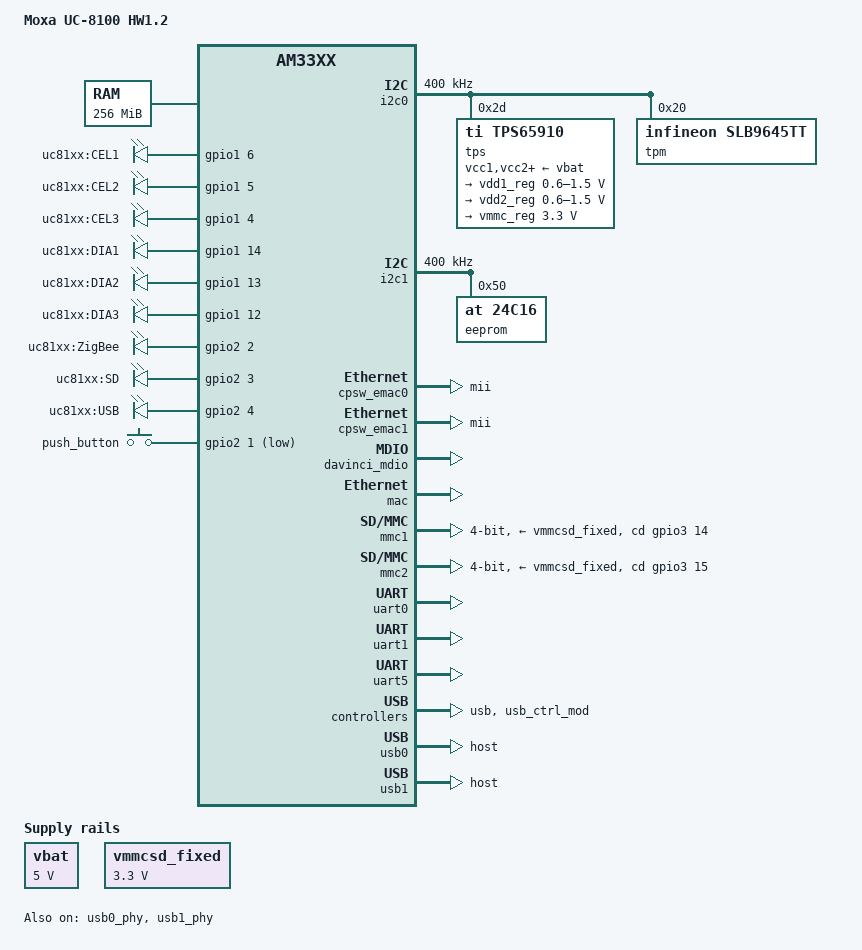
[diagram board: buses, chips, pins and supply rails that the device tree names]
// SPDX-License-Identifier: GPL-2.0
/*
 * Copyright (C) 2015 MOXA Inc. - https://www.moxa.com/
 *
 * Authors: SZ Lin (林上智) <sz.lin@moxa.com>
 *          Wes Huang (黃淵河) <wes.huang@moxa.com>
 *          Ken CJ Chou <KenCJ.Chou@moxa.com>
 */

/dts-v1/;

#include <dt-bindings/input/input.h>
#include "am33xx.dtsi"

/ {
	model = "Moxa UC-8100 HW1.2";
	compatible = "ti,moxa-uc8100", "ti,am33xx";

	aliases {
		serial0 = &uart0;
		serial1 = &uart1;
		serial2 = &uart5;
	};

	cpus {
		cpu@0 {
			cpu0-supply = <&vdd1_reg>;
		};
	};

	cpu0_opp_table: opp_table0 {
		opp50@300000000 {
			status = "okay";
		};

		opp100@275000000 {
			status = "disabled";
		};

		opp100@300000000 {
			status = "disabled";
		};

		opp100@500000000 {
			status = "disabled";
		};

		opp100@600000000 {
			status = "okay";
		};

		opp120@600000000 {
			status = "disabled";
		};

		opp120@720000000 {
			status = "okay";
		};

		oppturbo@720000000 {
			status = "disabled";
		};

		oppturbo@800000000 {
			status = "disabled";
		};

		oppnitro@1000000000 {
			status = "okay";
		};
	};

	memory {
		device_type = "memory";
		reg = <0x80000000 0x10000000>; /* 256 MB */
	};

	vbat: fixedregulator@0 {
		compatible = "regulator-fixed";
	};

	/* Power supply provides a fixed 3.3V @3A */
	vmmcsd_fixed: fixedregulator@1 {
		compatible = "regulator-fixed";
		regulator-name = "vmmcsd_fixed";
		regulator-min-microvolt = <3300000>;
		regulator-max-microvolt = <3300000>;
		regulator-boot-on;
	};

	leds: user_leds {
		compatible = "gpio-leds";
	};

	buttons: user_buttons {
		compatible = "gpio-keys";
	};
};

/* I2C Busses */
&i2c0 {
	pinctrl-names = "default";
	pinctrl-0 = <&i2c0_pins>;

	status = "okay";
	clock-frequency = <400000>;

	tps: tps@2d {
		compatible = "ti,tps65910";
		reg = <0x2d>;
	};

	tpm: tpm@20 {
		compatible = "infineon,slb9645tt";
		reg = <0x20>;
	};
};

&i2c1 {
	pinctrl-names = "default";
	pinctrl-0 = <&i2c1_pins>;

	status = "okay";
	clock-frequency = <400000>;

	eeprom: eeprom@50 {
		compatible = "at,24c16";
		pagesize = <16>;
		reg = <0x50>;
	};
};

&am33xx_pinmux {
	i2c0_pins: pinmux_i2c0_pins {
		pinctrl-single,pins = <
			AM33XX_IOPAD(0x988 ,PIN_INPUT_PULLUP | MUX_MODE0) /* i2c0_sda */
			AM33XX_IOPAD(0x98c ,PIN_INPUT_PULLUP | MUX_MODE0) /* i2c0_scl */
		>;
	};

	i2c1_pins: pinmux_i2c1_pins {
		pinctrl-single,pins = <
			AM33XX_IOPAD(0x958 ,PIN_INPUT_PULLUP | MUX_MODE2) /* spi0_d1.i2c1_sda */
			AM33XX_IOPAD(0x95c ,PIN_INPUT_PULLUP | MUX_MODE2) /* spi0_cs0.i2c1_scl */
		>;
	};
};

/* Ethernet */
&cpsw_emac0 {
	status = "okay";
	phy_id = <&davinci_mdio>, <16>;
	phy-mode = "mii";
	dual_emac_res_vlan = <1>;
};

&cpsw_emac1 {
	status = "okay";
	phy_id = <&davinci_mdio>, <2>;
	phy-mode = "mii";
	dual_emac_res_vlan = <2>;
};

&davinci_mdio {
	pinctrl-names = "default";
	pinctrl-0 = <&davinci_mdio_default>;
	status = "okay";
};

&mac {
	pinctrl-names = "default";
	pinctrl-0 = <&cpsw_default>;
	dual_emac = <1>;
	status = "okay";
};

&am33xx_pinmux {
	cpsw_default: cpsw_default {
		pinctrl-single,pins = <
			/* Slave 1 */
			AM33XX_IOPAD(0x910 ,PIN_INPUT_PULLUP | MUX_MODE0)    /* mii1_rxerr */
			AM33XX_IOPAD(0x914 ,PIN_OUTPUT_PULLDOWN | MUX_MODE0) /* mii1_txen */
			AM33XX_IOPAD(0x918 ,PIN_INPUT_PULLUP | MUX_MODE0)    /* mii1_rxdv */
			AM33XX_IOPAD(0x91c ,PIN_OUTPUT_PULLDOWN | MUX_MODE0) /* mii1_txd3 */
			AM33XX_IOPAD(0x920 ,PIN_OUTPUT_PULLDOWN | MUX_MODE0) /* mii1_txd2 */
			AM33XX_IOPAD(0x924 ,PIN_OUTPUT_PULLDOWN | MUX_MODE0) /* mii1_txd1 */
			AM33XX_IOPAD(0x928 ,PIN_OUTPUT_PULLDOWN | MUX_MODE0) /* mii1_txd0 */
			AM33XX_IOPAD(0x92c ,PIN_INPUT_PULLUP | MUX_MODE0)    /* mii1_txclk */
			AM33XX_IOPAD(0x930 ,PIN_INPUT_PULLUP | MUX_MODE0)    /* mii1_rxclk */
			AM33XX_IOPAD(0x934 ,PIN_INPUT_PULLUP | MUX_MODE0)    /* mii1_rxd3 */
			AM33XX_IOPAD(0x938 ,PIN_INPUT_PULLUP | MUX_MODE0)    /* mii1_rxd2 */
			AM33XX_IOPAD(0x93c ,PIN_INPUT_PULLUP | MUX_MODE0)    /* mii1_rxd1 */
			AM33XX_IOPAD(0x940 ,PIN_INPUT_PULLUP | MUX_MODE0)    /* mii1_rxd0 */

			/* Slave 2 */
			AM33XX_IOPAD(0x83c ,PIN_INPUT_PULLUP | MUX_MODE1)    /* gpmc_wpn.mii2_rxerr */
			AM33XX_IOPAD(0x840 ,PIN_OUTPUT_PULLDOWN | MUX_MODE1) /* gpmc_a0.mii2_txen */
			AM33XX_IOPAD(0x844 ,PIN_INPUT_PULLUP | MUX_MODE1)    /* gpmc_a1.mii2_rxdv */
			AM33XX_IOPAD(0x848 ,PIN_OUTPUT_PULLDOWN | MUX_MODE1) /* gpmc_a2.mii2_txd3 */
			AM33XX_IOPAD(0x84c ,PIN_OUTPUT_PULLDOWN | MUX_MODE1) /* gpmc_a3.mii2_txd2 */
			AM33XX_IOPAD(0x850 ,PIN_OUTPUT_PULLDOWN | MUX_MODE1) /* gpmc_a4.mii2_txd1 */
			AM33XX_IOPAD(0x854 ,PIN_OUTPUT_PULLDOWN | MUX_MODE1) /* gpmc_a5.mii2_txd0 */
			AM33XX_IOPAD(0x858 ,PIN_INPUT_PULLUP | MUX_MODE1)    /* gpmc_a6.mii2_txclk */
			AM33XX_IOPAD(0x85c ,PIN_INPUT_PULLUP | MUX_MODE1)    /* gpmc_a7.mii2_rxclk */
			AM33XX_IOPAD(0x860 ,PIN_INPUT_PULLUP | MUX_MODE1)    /* gpmc_a8.mii2_rxd3 */
			AM33XX_IOPAD(0x864 ,PIN_INPUT_PULLUP | MUX_MODE1)    /* gpmc_a9.mii2_rxd2 */
			AM33XX_IOPAD(0x868 ,PIN_INPUT_PULLUP | MUX_MODE1)    /* gpmc_a10.mii2_rxd1 */
			AM33XX_IOPAD(0x86c ,PIN_INPUT_PULLUP | MUX_MODE1)    /* gpmc_a11.mii2_rxd0 */
		>;
	};

	davinci_mdio_default: davinci_mdio_default {
		pinctrl-single,pins = <
			/* MDIO */
			AM33XX_IOPAD(0x948 ,PIN_INPUT_PULLUP | SLEWCTRL_FAST | MUX_MODE0) /* mdio_data.mdio_data */
			AM33XX_IOPAD(0x94c ,PIN_OUTPUT_PULLUP | MUX_MODE0)                /* mdio_clk.mdio_clk */
		>;
	};
};

/* MMC */
&mmc1 {
	pinctrl-names = "default";
	vmmc-supply = <&vmmcsd_fixed>;
	bus-width = <4>;
	pinctrl-0 = <&mmc0_pins_default>;
	cd-gpios = <&gpio3 14 GPIO_ACTIVE_HIGH>;
	status = "okay";
};

&mmc2 {
	pinctrl-names = "default";
	vmmc-supply = <&vmmcsd_fixed>;
	bus-width = <4>;
	pinctrl-0 = <&mmc1_pins_default>;
	cd-gpios = <&gpio3 15 GPIO_ACTIVE_HIGH>;
	status = "okay";
};

&am33xx_pinmux {
	mmc0_pins_default: pinmux_mmc0_pins {
		pinctrl-single,pins = <
			AM33XX_IOPAD(0x8f0 ,PIN_INPUT_PULLUP | MUX_MODE0) /* mmc0_dat3 */
			AM33XX_IOPAD(0x8f4 ,PIN_INPUT_PULLUP | MUX_MODE0) /* mmc0_dat2 */
			AM33XX_IOPAD(0x8f8 ,PIN_INPUT_PULLUP | MUX_MODE0) /* mmc0_dat1 */
			AM33XX_IOPAD(0x8fc ,PIN_INPUT_PULLUP | MUX_MODE0) /* mmc0_dat0 */
			AM33XX_IOPAD(0x900 ,PIN_INPUT_PULLUP | MUX_MODE0) /* mmc0_clk */
			AM33XX_IOPAD(0x904 ,PIN_INPUT_PULLUP | MUX_MODE0) /* mmc0_cmd */
			AM33XX_IOPAD(0x990 ,PIN_INPUT_PULLUP | MUX_MODE7) /* mcasp0_aclkx.gpio3_14 */
			/*AM33XX_IOPAD(0x9a0 ,PIN_INPUT_PULLUP | MUX_MODE7) /* mcasp0_aclkx.gpio3_18 */
		>;
	};

	mmc1_pins_default: pinmux_mmc1_pins {
		pinctrl-single,pins = <
			AM33XX_IOPAD(0x880 ,PIN_INPUT_PULLUP | MUX_MODE2) /* gpmc_csn1.mmc1_clk */
			AM33XX_IOPAD(0x884 ,PIN_INPUT_PULLUP | MUX_MODE2) /* gpmc_csn2.mmc1_cmd */
			AM33XX_IOPAD(0x800 ,PIN_INPUT_PULLUP | MUX_MODE1) /* gpmc_ad0.mmc1_dat0 */
			AM33XX_IOPAD(0x804 ,PIN_INPUT_PULLUP | MUX_MODE1) /* gpmc_ad1.mmc1_dat1 */
			AM33XX_IOPAD(0x808 ,PIN_INPUT_PULLUP | MUX_MODE1) /* gpmc_ad2.mmc1_dat2 */
			AM33XX_IOPAD(0x80c ,PIN_INPUT_PULLUP | MUX_MODE1) /* gpmc_ad3.mmc1_dat3 */
		>;
	};
};

/* Power */
&vbat {
	regulator-name = "vbat";
	regulator-min-microvolt = <5000000>;
	regulator-max-microvolt = <5000000>;
};

#include "tps65910.dtsi"
&tps {
	pinctrl-0 = <&tps_pins>;

	interrupts = <7>;
	interrupt-parent = <&intc>;

	moxa-uc,enable-rtc;
	ti,en-ck32k-xtal;

	vcc1-supply = <&vbat>;
	vcc2-supply = <&vbat>;
	vcc3-supply = <&vbat>;
	vcc4-supply = <&vbat>;
	vcc5-supply = <&vbat>;
	vcc6-supply = <&vbat>;
	vcc7-supply = <&vbat>;
	vccio-supply = <&vbat>;

	regulators {
		vrtc_reg: regulator@0 {
			regulator-always-on;
		};

		vio_reg: regulator@1 {
			regulator-always-on;
		};

		vdd1_reg: regulator@2 {
			/* VDD_MPU voltage limits 0.95V - 1.26V with +/-4% tolerance */
			regulator-name = "vdd_mpu";
			regulator-min-microvolt = <600000>;
			regulator-max-microvolt = <1500000>;
			regulator-boot-on;
			regulator-always-on;
		};

		vdd2_reg: regulator@3 {
			/* VDD_CORE voltage limits 0.95V - 1.1V with +/-4% tolerance */
			regulator-name = "vdd_core";
			regulator-min-microvolt = <600000>;
			regulator-max-microvolt = <1500000>;
			regulator-boot-on;
			regulator-always-on;
		};

		vdd3_reg: regulator@4 {
			regulator-always-on;
		};

		vdig1_reg: regulator@5 {
			regulator-always-on;
		};

		vdig2_reg: regulator@6 {
			regulator-always-on;
		};

		vpll_reg: regulator@7 {
			regulator-always-on;
		};

		vdac_reg: regulator@8 {
			regulator-always-on;
		};

		vaux1_reg: regulator@9 {
			regulator-always-on;
		};

		vaux2_reg: regulator@10 {
			regulator-always-on;
		};

		vaux33_reg: regulator@11 {
			regulator-always-on;
		};

		vmmc_reg: regulator@12 {
			compatible = "regulator-fixed";
			regulator-name = "vmmc_reg";
			regulator-min-microvolt = <3300000>;
			regulator-max-microvolt = <3300000>;
			regulator-always-on;
		};
	};
};

&am33xx_pinmux {
	tps_pins: pinmux_tps_pins {
		pinctrl-single,pins = <
			AM33XX_IOPAD(0x968 ,PIN_INPUT | MUX_MODE7) /* uart0_ctsn.gpio1_8 */
		>;
	};
};

/* SPI Busses */

/* GPIO */
&gpio0 {
	ti,no-reset-on-init;
};

/* UARTs */
&uart0 {
	/* Serial Console */
	pinctrl-names = "default";
	pinctrl-0 = <&uart0_pins>;
	status = "okay";
};

&uart1 {
	status = "okay";
	pinctrl-names = "default";
	pinctrl-0 = <&uart1_pins>;
};

&uart5 {
	status = "okay";
	pinctrl-names = "default";
	pinctrl-0 = <&uart2_pins>;
};

&am33xx_pinmux {
	uart0_pins: pinmux_uart0_pins {
		pinctrl-single,pins = <
			AM33XX_IOPAD(0x970 ,PIN_INPUT_PULLUP | MUX_MODE0)    /* uart0_rxd */
			AM33XX_IOPAD(0x974 ,PIN_OUTPUT_PULLDOWN | MUX_MODE0) /* uart0_txd */
		>;
	};

	uart1_pins: pinmux_uart1_pins {
		pinctrl-single,pins = <
			AM33XX_IOPAD(0x978 ,PIN_INPUT | MUX_MODE0)           /* uart1_ctsn */
			AM33XX_IOPAD(0x97C ,PIN_OUTPUT_PULLDOWN | MUX_MODE0) /* uart1_rtsn */
			AM33XX_IOPAD(0x980 ,PIN_INPUT_PULLUP | MUX_MODE0)    /* uart1_rxd */
			AM33XX_IOPAD(0x984 ,PIN_OUTPUT | MUX_MODE0)          /* uart1_txd */
		>;
	};

	uart2_pins: pinmux_uart2_pins {
		pinctrl-single,pins = <
			AM33XX_IOPAD(0x8d8 ,PIN_INPUT | MUX_MODE6)           /* lcd_data14.uart5_ctsn */
			AM33XX_IOPAD(0x8dc ,PIN_OUTPUT_PULLDOWN | MUX_MODE6) /* lcd_data15.uart5_rtsn */
			AM33XX_IOPAD(0x8c4 ,PIN_INPUT_PULLUP | MUX_MODE4)    /* lcd_data9.uart5_rxd */
			AM33XX_IOPAD(0x8c0 ,PIN_OUTPUT | MUX_MODE4)          /* lcd_data8.uart5_txd */
		>;
	};
};

/* USB */
&usb {
	status = "okay";
};

&usb_ctrl_mod {
	status = "okay";
};

&usb0_phy {
	status = "okay";
};

&usb1_phy {
	status = "okay";
};

&usb0 {
	status = "okay";
	dr_mode = "host";
};

&usb1 {
	status = "okay";
	dr_mode = "host";
};

&cppi41dma  {
	status = "okay";
};

/* MiniPCIe Slot */
&am33xx_pinmux {
	minipcie_pins: pinmux_minipcie {
		pinctrl-single,pins = <
			AM33XX_IOPAD(0x8e0 ,PIN_OUTPUT_PULLUP | MUX_MODE7)   /* lcd_vsync.gpio2_22 */
			AM33XX_IOPAD(0x8e8 ,PIN_OUTPUT_PULLDOWN | MUX_MODE7) /* lcd_pclk.gpio2_24 */
			AM33XX_IOPAD(0x8ec ,PIN_OUTPUT_PULLDOWN | MUX_MODE7) /* lcd_ac_bias_en.gpio2_25 */
		>;
	};
};

/* LEDs */
&leds {
	pinctrl-names = "default";
	pinctrl-0 = <&user_leds_pins>;

	led@1 {
		label = "uc81xx:CEL1";
		gpios = <&gpio1 6 GPIO_ACTIVE_HIGH>;
		default-state = "off";
	};

	led@2 {
		label = "uc81xx:CEL2";
		gpios = <&gpio1 5 GPIO_ACTIVE_HIGH>;
		default-state = "off";
	};

	led@3 {
		label = "uc81xx:CEL3";
		gpios = <&gpio1 4 GPIO_ACTIVE_HIGH>;
		default-state = "off";
	};

	led@4 {
		label = "uc81xx:DIA1";
		gpios = <&gpio1 14 GPIO_ACTIVE_HIGH>;
		default-state = "off";
	};
	led@5 {
		label = "uc81xx:DIA2";
		gpios = <&gpio1 13 GPIO_ACTIVE_HIGH>;
		default-state = "off";
	};
	led@6 {
		label = "uc81xx:DIA3";
		gpios = <&gpio1 12 GPIO_ACTIVE_HIGH>;
		default-state = "off";
	};
	led@7 {
		label = "uc81xx:ZigBee";
		gpios = <&gpio2 2 GPIO_ACTIVE_HIGH>;
		default-state = "off";
	};
	led@8 {
		label = "uc81xx:SD";
		gpios = <&gpio2 3 GPIO_ACTIVE_HIGH>;
		default-state = "off";
	};
	led@9 {
		label = "uc81xx:USB";
		gpios = <&gpio2 4 GPIO_ACTIVE_HIGH>;
		default-state = "off";
	};
};

&am33xx_pinmux {
	user_leds_pins: pinmux_user_leds {
		pinctrl-single,pins = <
			AM33XX_IOPAD(0x810 ,PIN_OUTPUT | MUX_MODE7) /* gpmc_ad4.gpio1_4 */
			AM33XX_IOPAD(0x814 ,PIN_OUTPUT | MUX_MODE7) /* gpmc_ad5.gpio1_5 */
			AM33XX_IOPAD(0x818 ,PIN_OUTPUT | MUX_MODE7) /* gpmc_ad6.gpio1_6 */
			AM33XX_IOPAD(0x830 ,PIN_OUTPUT | MUX_MODE7) /* gpmc_ad12.gpio1_12 */
			AM33XX_IOPAD(0x834 ,PIN_OUTPUT | MUX_MODE7) /* gpmc_ad13.gpio1_13 */
			AM33XX_IOPAD(0x838 ,PIN_OUTPUT | MUX_MODE7) /* gpmc_ad14.gpio1_14 */
			AM33XX_IOPAD(0x890 ,PIN_OUTPUT | MUX_MODE7) /* gpmc_advn_ale.gpio2_2 */
			AM33XX_IOPAD(0x894 ,PIN_OUTPUT | MUX_MODE7) /* gpmc_oen_ren.gpio2_3 */
			AM33XX_IOPAD(0x898 ,PIN_OUTPUT | MUX_MODE7) /* gpmc_wen.gpio2_4 */
		>;
	};
};

/* Push Button */
&buttons {
	pinctrl-names = "default";
	pinctrl-0 = <&user_buttons_pins>;
	#address-cells = <1>;
	#size-cells = <0>;

	button@0 {
		label = "push_button";
		linux,code = <BTN_MISC>;
		gpios = <&gpio2 1 GPIO_ACTIVE_LOW>;
	};
};

&am33xx_pinmux {
	user_buttons_pins: pinmux_user_buttons {
		pinctrl-single,pins = <
			AM33XX_IOPAD(0x88c ,PIN_INPUT_PULLUP | MUX_MODE7) /* gpmc_clk.gpio2_1 */
		>;
	};
};
